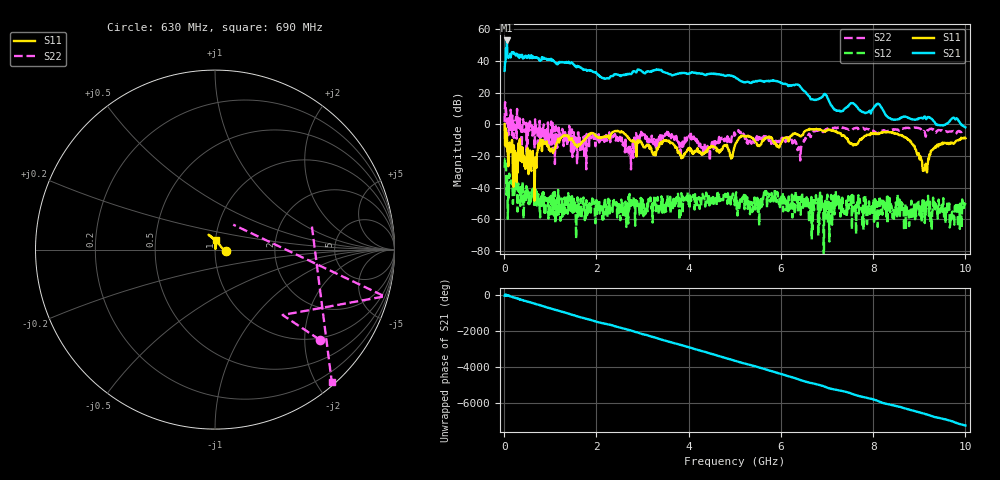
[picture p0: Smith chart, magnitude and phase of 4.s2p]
#  HZ  S  DB  R  50.00
! Rohde & Schwarz ZVA24 2Ports - Version 3.90 - 1145.1110k24 SN: 100222
! Date: 2019-05-10 15:22:21
! Measurements: S11 S21 S12 S22
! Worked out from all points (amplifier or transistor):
!   1000 points, 10 MHz to 10 GHz, reference 50 ohm
!   highest |S21| = 53.0 dB at 60 MHz (marker M1)
!   |S21| within 3 dB of that: 56.97 MHz to 63.25 MHz (6.276 MHz wide, 10.4 % of centre)
!   unconditionally stable (mu >= 1): 1.177 GHz to 1.239 GHz; 1.256 GHz to 1.388 GHz; 1.471 GHz to end of sweep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
!   at 1.67 GHz: K = 2.86, MAG = 36.3 dB, |S12| = -51.7 dB
!   at 5.01 GHz: K = 2.55, MAG = 30.9 dB, |S12| = -45.8 dB
!   at 10 GHz: K = 107.86, MAG = 0.5 dB, |S12| = -49.6 dB
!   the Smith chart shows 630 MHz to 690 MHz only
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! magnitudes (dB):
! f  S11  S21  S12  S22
! 10 MHz  0.1  33.7  -27.5  1.6
! 60 MHz  -5.7  53.0  -32.6  0.8
! 240 MHz  -17.9  43.9  -41.6  2.1
! 350 MHz  -23.1  43.4  -51.6  -2.9
! 620 MHz  -16.8  43.1  -40.7  -3.9
! 810 MHz  -13.8  40.7  -52.5  -7.6
! 1.68 GHz  -11.9  35.4  -59.0  -16.0
! 2.45 GHz  -4.0  31.5  -58.8  -9.3
! 2.73 GHz  -10.0  31.8  -51.2  -16.7
! 3 GHz  -12.6  33.2  -47.7  -5.8
! 3.34 GHz  -14.5  34.6  -50.4  -10.9
! 4.44 GHz  -14.4  31.8  -45.4  -14.8
! 5.01 GHz  -12.9  29.8  -45.8  -6.6
! 6.4 GHz  -7.2  24.5  -46.0  -15.9
! 6.67 GHz  -3.1  15.9  -73.0  -5.8
! 7.6 GHz  -13.0  12.5  -50.9  -2.4
! 8.34 GHz  -4.9  4.1  -50.0  -4.1
! 8.78 GHz  -10.0  3.9  -64.4  -2.4
! 9.12 GHz  -27.7  5.0  -62.4  -4.9
! 9.3 GHz  -15.7  2.3  -46.4  -3.3
! 9.71 GHz  -11.6  3.6  -55.4  -4.4
! 10 GHz  -8.8  -1.9  -49.6  -4.7
